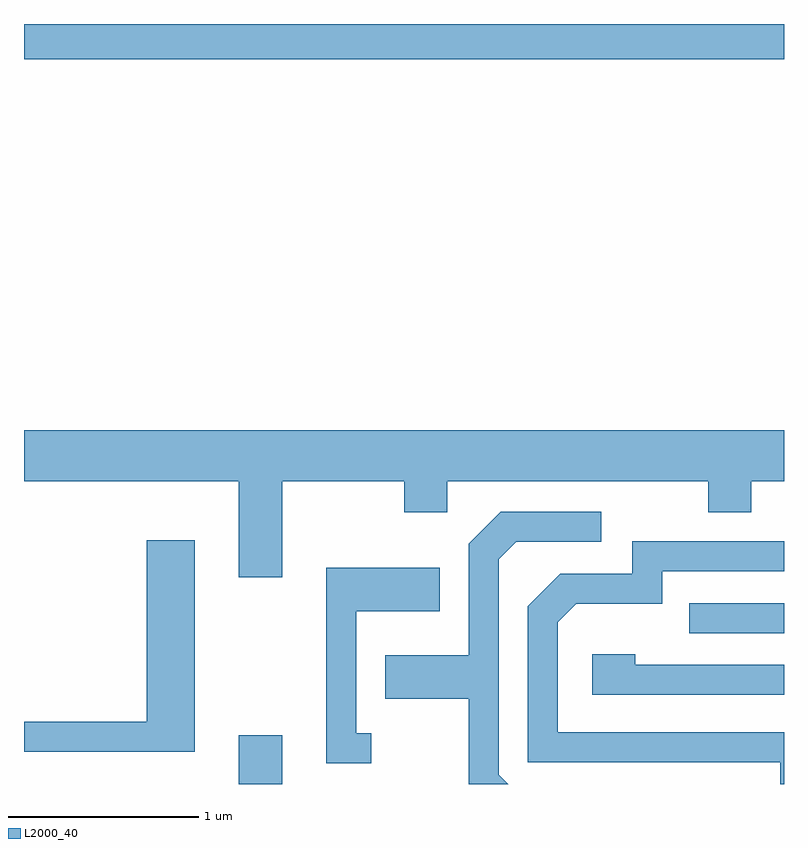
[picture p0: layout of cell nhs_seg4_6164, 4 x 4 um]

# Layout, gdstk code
import gdstk
lib = gdstk.Library(unit=1e-6, precision=1e-09)
def R(c, l, rs):  # rectangles x0, y0, x1, y1
    for r in rs: c.add(gdstk.rectangle(r[:2], r[2:], *l))
def P(c, l, *ps):  # polygons
    for p in ps: c.add(gdstk.Polygon(p, *l))
L2000_40 = (2000, 40)

nhs_seg4_6164 = lib.new_cell('nhs_seg4_6164')
R(nhs_seg4_6164, L2000_40, [(366.741,1341.982,366.969,1342.239), (369.113,1342.776,369.611,1342.934), (365.611,1345.796,369.611,1345.982)])
P(nhs_seg4_6164, L2000_40, [(365.611,1343.576),(366.741,1343.576),(366.741,1343.071),(366.969,1343.071),(366.969,1343.576),(367.611,1343.576),(367.611,1343.411),(367.839,1343.411),(367.839,1343.576),(369.211,1343.576),(369.211,1343.411),(369.439,1343.411),(369.439,1343.576),(369.611,1343.576),(369.611,1343.844),(365.611,1343.844)],
  [(368.109,1342.032),(368.109,1343.164),(368.202,1343.256),(368.648,1343.256),(368.648,1343.414),(368.119,1343.414),(367.951,1343.247),(367.951,1342.659),(367.511,1342.659),(367.511,1342.431),(367.951,1342.431),(367.951,1341.982),(368.159,1341.982)],
  [(366.509,1343.264),(366.256,1343.264),(366.256,1342.309),(365.611,1342.309),(365.611,1342.151),(366.509,1342.151)],
  [(369.611,1342.254),(368.419,1342.254),(368.419,1342.834),(368.517,1342.931),(368.969,1342.931),(368.969,1343.101),(369.611,1343.101),(369.611,1343.259),(368.811,1343.259),(368.811,1343.089),(368.434,1343.089),(368.261,1342.917),(368.261,1342.096),(369.591,1342.096),(369.591,1341.982),(369.611,1341.982)],
  [(367.438,1342.249),(367.359,1342.249),(367.359,1342.891),(367.799,1342.891),(367.799,1343.119),(367.201,1343.119),(367.201,1342.091),(367.438,1342.091)],
  [(369.611,1342.609),(368.829,1342.609),(368.829,1342.664),(368.601,1342.664),(368.601,1342.451),(369.611,1342.451)])

lib.write_gds('nhs_seg4_6164.gds')
